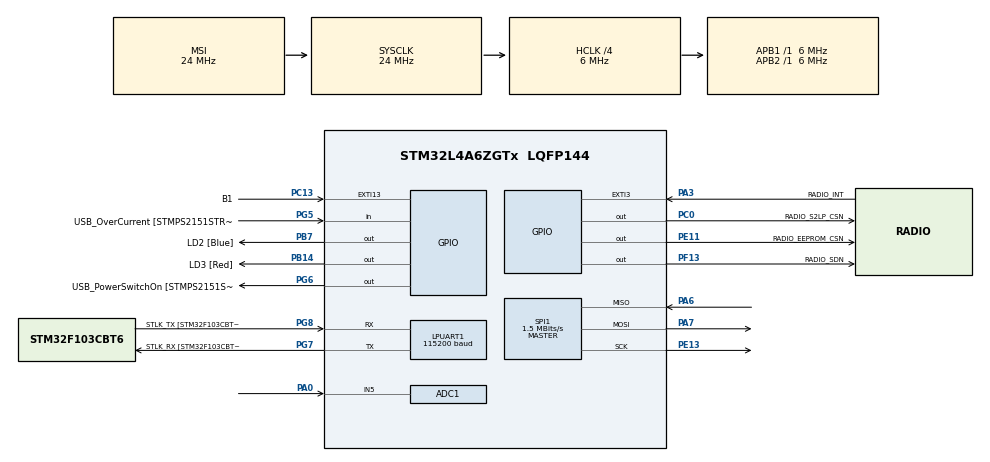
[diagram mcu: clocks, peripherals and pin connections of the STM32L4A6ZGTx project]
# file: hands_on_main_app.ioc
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ADC1.Channel-0\#ChannelRegularConversion=ADC_CHANNEL_5
ADC1.ClockPrescaler=ADC_CLOCK_ASYNC_DIV10
ADC1.DMAContinuousRequests=ENABLE
ADC1.ExternalTrigConv=ADC_EXTERNALTRIG_T3_TRGO
ADC1.NbrOfConversionFlag=1
ADC1.OffsetNumber-0\#ChannelRegularConversion=ADC_OFFSET_NONE
ADC1.Rank-0\#ChannelRegularConversion=1
ADC1.SamplingTime-0\#ChannelRegularConversion=ADC_SAMPLETIME_2CYCLES_5
ADC1.master=1
AES.Data\ encryption\ types\ list=AESCBC
Dma.ADC1.0.Direction=DMA_PERIPH_TO_MEMORY
Dma.ADC1.0.Instance=DMA1_Channel1
Dma.ADC1.0.MemDataAlignment=DMA_MDATAALIGN_HALFWORD
Dma.ADC1.0.MemInc=DMA_MINC_ENABLE
Dma.ADC1.0.Mode=DMA_CIRCULAR
Dma.ADC1.0.PeriphDataAlignment=DMA_PDATAALIGN_HALFWORD
Dma.ADC1.0.PeriphInc=DMA_PINC_DISABLE
Dma.ADC1.0.Priority=DMA_PRIORITY_LOW
Dma.Request0=ADC1
LPUART1.AutoBaudRateEnableParam=UART_ADVFEATURE_AUTOBAUDRATE_DISABLE
LPUART1.BaudRate=115200
LPUART1.DMADisableonRxErrorParam=UART_ADVFEATURE_DMA_ENABLEONRXERROR
LPUART1.DataInvertParam=UART_ADVFEATURE_DATAINV_DISABLE
LPUART1.MSBFirstParam=UART_ADVFEATURE_MSBFIRST_DISABLE
LPUART1.Mode=UART_MODE_TX_RX
LPUART1.OneBitSampling=UART_ONE_BIT_SAMPLE_DISABLE
LPUART1.OverrunDisableParam=UART_ADVFEATURE_OVERRUN_ENABLE
LPUART1.Parity=UART_PARITY_NONE
LPUART1.RxPinLevelInvertParam=UART_ADVFEATURE_RXINV_DISABLE
LPUART1.StopBits=UART_STOPBITS_1
LPUART1.SwapParam=UART_ADVFEATURE_SWAP_DISABLE
LPUART1.TxPinLevelInvertParam=UART_ADVFEATURE_TXINV_DISABLE
LPUART1.WordLength=UART_WORDLENGTH_8B
Mcu.Family=STM32L4
Mcu.Name=STM32L4A6ZGTx
Mcu.Package=LQFP144
NVIC.DMA1_Channel1_IRQn=true\:1\:0\:true\:false\:true\:false\:true\:true
NVIC.EXTI15_10_IRQn=true\:0\:0\:false\:false\:true\:true\:true\:true
NVIC.EXTI3_IRQn=true\:0\:0\:false\:false\:true\:true\:true\:true
NVIC.PriorityGroup=NVIC_PRIORITYGROUP_4
NVIC.TIM3_IRQn=true\:0\:0\:true\:false\:true\:true\:true\:true
PA0.Signal=ADCx_IN5
PA10.GPIO_Label=USB_ID
PA10.Signal=USB_OTG_FS_ID
PA11.GPIO_Label=USB_DM
PA11.Signal=USB_OTG_FS_DM
PA12.GPIO_Label=USB_DP
PA12.Signal=USB_OTG_FS_DP
PA13\ (JTMS/SWDIO).GPIO_Label=TMS
PA13\ (JTMS/SWDIO).Mode=Trace_Asynchronous_SW
PA13\ (JTMS/SWDIO).Signal=SYS_JTMS-SWDIO
PA14\ (JTCK/SWCLK).GPIO_Label=TCK
PA14\ (JTCK/SWCLK).Mode=Trace_Asynchronous_SW
PA14\ (JTCK/SWCLK).Signal=SYS_JTCK-SWCLK
PA3.GPIO_Label=RADIO_INT
PA3.GPIO_ModeDefaultEXTI=GPIO_MODE_IT_FALLING
PA3.Signal=GPXTI3
PA6.Mode=Full_Duplex_Master
PA6.Signal=SPI1_MISO
PA7.Mode=Full_Duplex_Master
PA7.Signal=SPI1_MOSI
PA8.GPIO_Label=USB_SOF [TP1]
PA8.Signal=USB_OTG_FS_SOF
PA9.GPIO_Label=USB_VBUS
PA9.Signal=USB_OTG_FS_VBUS
PB14.GPIO_Label=LD3 [Red]
PB14.Signal=GPIO_Output
PB3\ (JTDO/TRACESWO).GPIO_Label=SWO
PB3\ (JTDO/TRACESWO).Mode=Trace_Asynchronous_SW
PB3\ (JTDO/TRACESWO).Signal=SYS_JTDO-SWO
PB7.GPIO_Label=LD2 [Blue]
PB7.Signal=GPIO_Output
PC0.GPIO_Label=RADIO_S2LP_CSN
PC0.GPIO_Speed=GPIO_SPEED_FREQ_VERY_HIGH
PC0.PinState=GPIO_PIN_SET
PC0.Signal=GPIO_Output
PC13.GPIO_Label=B1
PC13.GPIO_ModeDefaultEXTI=GPIO_MODE_IT_RISING
PC13.Signal=GPXTI13
PC14-OSC32_IN\ (PC14).Mode=LSE-External-Oscillator
PC14-OSC32_IN\ (PC14).Signal=RCC_OSC32_IN
PC15-OSC32_OUT\ (PC15).Mode=LSE-External-Oscillator
PC15-OSC32_OUT\ (PC15).Signal=RCC_OSC32_OUT
PE11.GPIO_Label=RADIO_EEPROM_CSN
PE11.PinState=GPIO_PIN_SET
PE11.Signal=GPIO_Output
PE13.Mode=Full_Duplex_Master
PE13.Signal=SPI1_SCK
PF13.GPIO_Label=RADIO_SDN
PF13.PinState=GPIO_PIN_SET
PF13.Signal=GPIO_Output
PG5.GPIO_Label=USB_OverCurrent [STMPS2151STR_FAULT]
PG5.Signal=GPIO_Input
PG6.GPIO_Label=USB_PowerSwitchOn [STMPS2151STR_EN]
PG6.Signal=GPIO_Output
PG7.GPIO_Label=STLK_RX [STM32F103CBT6_PA3]
PG7.Mode=Asynchronous
PG7.Signal=LPUART1_TX
PG8.GPIO_Label=STLK_TX [STM32F103CBT6_PA2]
PG8.Mode=Asynchronous
PG8.Signal=LPUART1_RX
PH1-OSC_OUT\ (PH1).Signal=RCC_OSC_OUT
ProjectManager.HeapSize=0x200
ProjectManager.StackSize=0x400
ProjectManager.TargetToolchain=STM32CubeIDE
RCC.ADCCLockSelection=RCC_ADCCLKSOURCE_SYSCLK
RCC.ADCFreq_Value=24000000
RCC.AHBCLKDivider=RCC_SYSCLK_DIV4
RCC.AHBFreq_Value=6000000
RCC.APB1Freq_Value=6000000
RCC.APB1TimFreq_Value=6000000
RCC.APB2Freq_Value=6000000
RCC.APB2TimFreq_Value=6000000
RCC.CortexFreq_Value=6000000
RCC.FLatency=FLASH_LATENCY_0
RCC.HCLKFreq_Value=6000000
RCC.HSE_VALUE=8000000
RCC.HSI48_VALUE=48000000
RCC.HSI_VALUE=16000000
RCC.LPUART1CLockSelection=RCC_LPUART1CLKSOURCE_SYSCLK
RCC.MSIClockRange=RCC_MSIRANGE_9
RCC.MSI_VALUE=24000000
RCC.PLLN=24
RCC.PLLSAI1N=24
RCC.SYSCLKFreq_VALUE=24000000
RCC.USBFreq_Value=288000000
RCC.VCOOutputFreq_Value=576000000
SH.ADCx_IN5.0=ADC1_IN5,IN5-Single-Ended
SPI1.BaudRatePrescaler=SPI_BAUDRATEPRESCALER_4
SPI1.CalculateBaudRate=1.5 MBits/s
SPI1.DataSize=SPI_DATASIZE_8BIT
SPI1.Direction=SPI_DIRECTION_2LINES
SPI1.Mode=SPI_MODE_MASTER
SPI1.VirtualType=VM_MASTER
TIM3.Period=27
TIM3.Prescaler=20
TIM3.TIM_MasterOutputTrigger=TIM_TRGO_UPDATE
VP_AES_VS_AES.Mode=AES_Activate
VP_TIM3_VS_ClockSourceINT.Mode=Internal
board=NUCLEO-L4A6ZG

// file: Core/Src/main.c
/* USER CODE BEGIN Header */
/**
  ******************************************************************************
  * @file           : main.c
  * @brief          : Main program body
  ******************************************************************************
  * @attention
  *
  * <h2><center>&copy; Copyright (c) 2021 STMicroelectronics.
  * All rights reserved.</center></h2>
  *
  * This software component is licensed by ST under BSD 3-Clause license,
  * the "License"; You may not use this file except in compliance with the
  * License. You may obtain a copy of the License at:
  *                        opensource.org/licenses/BSD-3-Clause
  *
  ******************************************************************************
  */
/* USER CODE END Header */
#include "main.h"
#include "adc.h"
#include "aes.h"
#include "dma.h"
#include "spi.h"
#include "tim.h"
#include "gpio.h"

/* USER CODE BEGIN Includes */
#include <stdio.h>
#include <string.h>
#include "arm_math.h"
#include "adc_dblbuf.h"
#include "retarget.h"
#include "s2lp.h"
#include "spectrogram.h"
#include "eval_radio.h"
#include "packet.h"
#include "config.h"
#include "utils.h"
#include "usart.h"
/* USER CODE END Includes */

/* USER CODE BEGIN PV */

volatile uint8_t btn_press;

/* USER CODE END PV */

void SystemClock_Config(void);

/* USER CODE BEGIN 0 */

void HAL_GPIO_EXTI_Callback(uint16_t GPIO_Pin)
{
	if (GPIO_Pin == B1_Pin) {
		/* Keep as optional debug/manual trigger (not required for contest mode) */
		btn_press = 1;
	}
	else if (GPIO_Pin == RADIO_INT_Pin)
		S2LP_IRQ_Handler();
}

void run(void)
{
	/*
	 * Contest-ready behavior:
	 * - Start continuous ADC+DMA acquisition once
	 * - CPU sleeps in WFI
	 * - Sound detection + feature extraction + packetization + TX are handled
	 *   inside adc_dblbuf.c (DMA callbacks)
	 */

	btn_press = 0;

	/* -1 means "continuous" in adc_dblbuf.c */
	if (StartADCAcq(-1) != HAL_OK) {
		DEBUG_PRINT("Error while enabling the DMA\r\n");
		Error_Handler();
	}

	while (1)
	{
		/* Optional: allow button as debug trigger (kept minimal) */
		if (btn_press) {
			btn_press = 0;
			/* Nothing to do here: adc_dblbuf.c handles detection & sending */
		}

		__WFI();
	}
}

/* USER CODE END 0 */

int main(void)
{

  /* MCU Configuration--------------------------------------------------------*/

  /* Reset of all peripherals, Initializes the Flash interface and the Systick. */
  HAL_Init();

  /* Configure the system clock */
  SystemClock_Config();

  /* Initialize all configured peripherals */
  MX_GPIO_Init();
  MX_DMA_Init();
  MX_SPI1_Init();
  MX_TIM3_Init();
  MX_ADC1_Init();
  MX_AES_Init();
  /* USER CODE BEGIN 2 */
  if (ENABLE_UART) {
	  MX_LPUART1_UART_Init();
  }

  RetargetInit(&hlpuart1);
  DEBUG_PRINT("Hello world\r\n");

#if ENABLE_RADIO
  // Enable S2LP Radio
  HAL_StatusTypeDef err = S2LP_Init(&hspi1);
  if (err)  {
	  DEBUG_PRINT("[S2LP] Error while initializing: %u\r\n", err);
	  Error_Handler();
  } else {
	  DEBUG_PRINT("[S2LP] Init OK\r\n");
  }
#endif

  if (HAL_ADCEx_Calibration_Start(&hadc1, ADC_SINGLE_ENDED) != HAL_OK) {
	  DEBUG_PRINT("Error while calibrating the ADC\r\n");
	  Error_Handler();
  }
  if (HAL_TIM_Base_Start(&htim3) != HAL_OK) {
	  DEBUG_PRINT("Error while enabling timer TIM3\r\n");
	  Error_Handler();
  }
  /* USER CODE END 2 */

  /* Infinite loop */
  /* USER CODE BEGIN WHILE */
#if (RUN_CONFIG == MAIN_APP)
  run();
#elif (RUN_CONFIG == EVAL_RADIO)
  eval_radio();
#else
#error "Wrong value for RUN_CONFIG."
#endif

    /* USER CODE END WHILE */

}

void SystemClock_Config(void)
{
  RCC_OscInitTypeDef RCC_OscInitStruct = {0};
  RCC_ClkInitTypeDef RCC_ClkInitStruct = {0};

  /** Configure the main internal regulator output voltage
  */
  if (HAL_PWREx_ControlVoltageScaling(PWR_REGULATOR_VOLTAGE_SCALE1) != HAL_OK)
  {
    Error_Handler();
  }

  /** Initializes the RCC Oscillators according to the specified parameters
  * in the RCC_OscInitTypeDef structure.
  */
  RCC_OscInitStruct.OscillatorType = RCC_OSCILLATORTYPE_MSI;
  RCC_OscInitStruct.MSIState = RCC_MSI_ON;
  RCC_OscInitStruct.MSICalibrationValue = 0;
  RCC_OscInitStruct.MSIClockRange = RCC_MSIRANGE_9;
  RCC_OscInitStruct.PLL.PLLState = RCC_PLL_NONE;
  if (HAL_RCC_OscConfig(&RCC_OscInitStruct) != HAL_OK)
  {
    Error_Handler();
  }

  /** Initializes the CPU, AHB and APB buses clocks
  */
  RCC_ClkInitStruct.ClockType = RCC_CLOCKTYPE_HCLK|RCC_CLOCKTYPE_SYSCLK
                              |RCC_CLOCKTYPE_PCLK1|RCC_CLOCKTYPE_PCLK2;
  RCC_ClkInitStruct.SYSCLKSource = RCC_SYSCLKSOURCE_MSI;
  RCC_ClkInitStruct.AHBCLKDivider = RCC_SYSCLK_DIV4;
  RCC_ClkInitStruct.APB1CLKDivider = RCC_HCLK_DIV1;
  RCC_ClkInitStruct.APB2CLKDivider = RCC_HCLK_DIV1;

  if (HAL_RCC_ClockConfig(&RCC_ClkInitStruct, FLASH_LATENCY_0) != HAL_OK)
  {
    Error_Handler();
  }
}

void Error_Handler(void)
{
  /* USER CODE BEGIN Error_Handler_Debug */
  __disable_irq();
  DEBUG_PRINT("Entering error Handler\r\n");
  while (1)
  {
	  // Blink LED3 (red)
	  HAL_GPIO_WritePin(GPIOB, LD3_Pin, GPIO_PIN_SET);
	  for (volatile int i=0; i < SystemCoreClock/200; i++);
	  HAL_GPIO_WritePin(GPIOB, LD3_Pin, GPIO_PIN_RESET);
	  for (volatile int i=0; i < SystemCoreClock/200; i++);
  }
  /* USER CODE END Error_Handler_Debug */
}
#ifdef USE_FULL_ASSERT
/**
  * @brief  Reports the name of the source file and the source line number
  *         where the assert_param error has occurred.
  * @param  file: pointer to the source file name
  * @param  line: assert_param error line source number
  * @retval None
  */
void assert_failed(uint8_t *file, uint32_t line)
{
  /* USER CODE BEGIN 6 */
  /* User can add his own implementation to report the file name and line number,
     ex: DEBUG_PRINT("Wrong parameters value: file %s on line %d\r\n", file, line) */
  /* USER CODE END 6 */
}
#endif /* USE_FULL_ASSERT */
